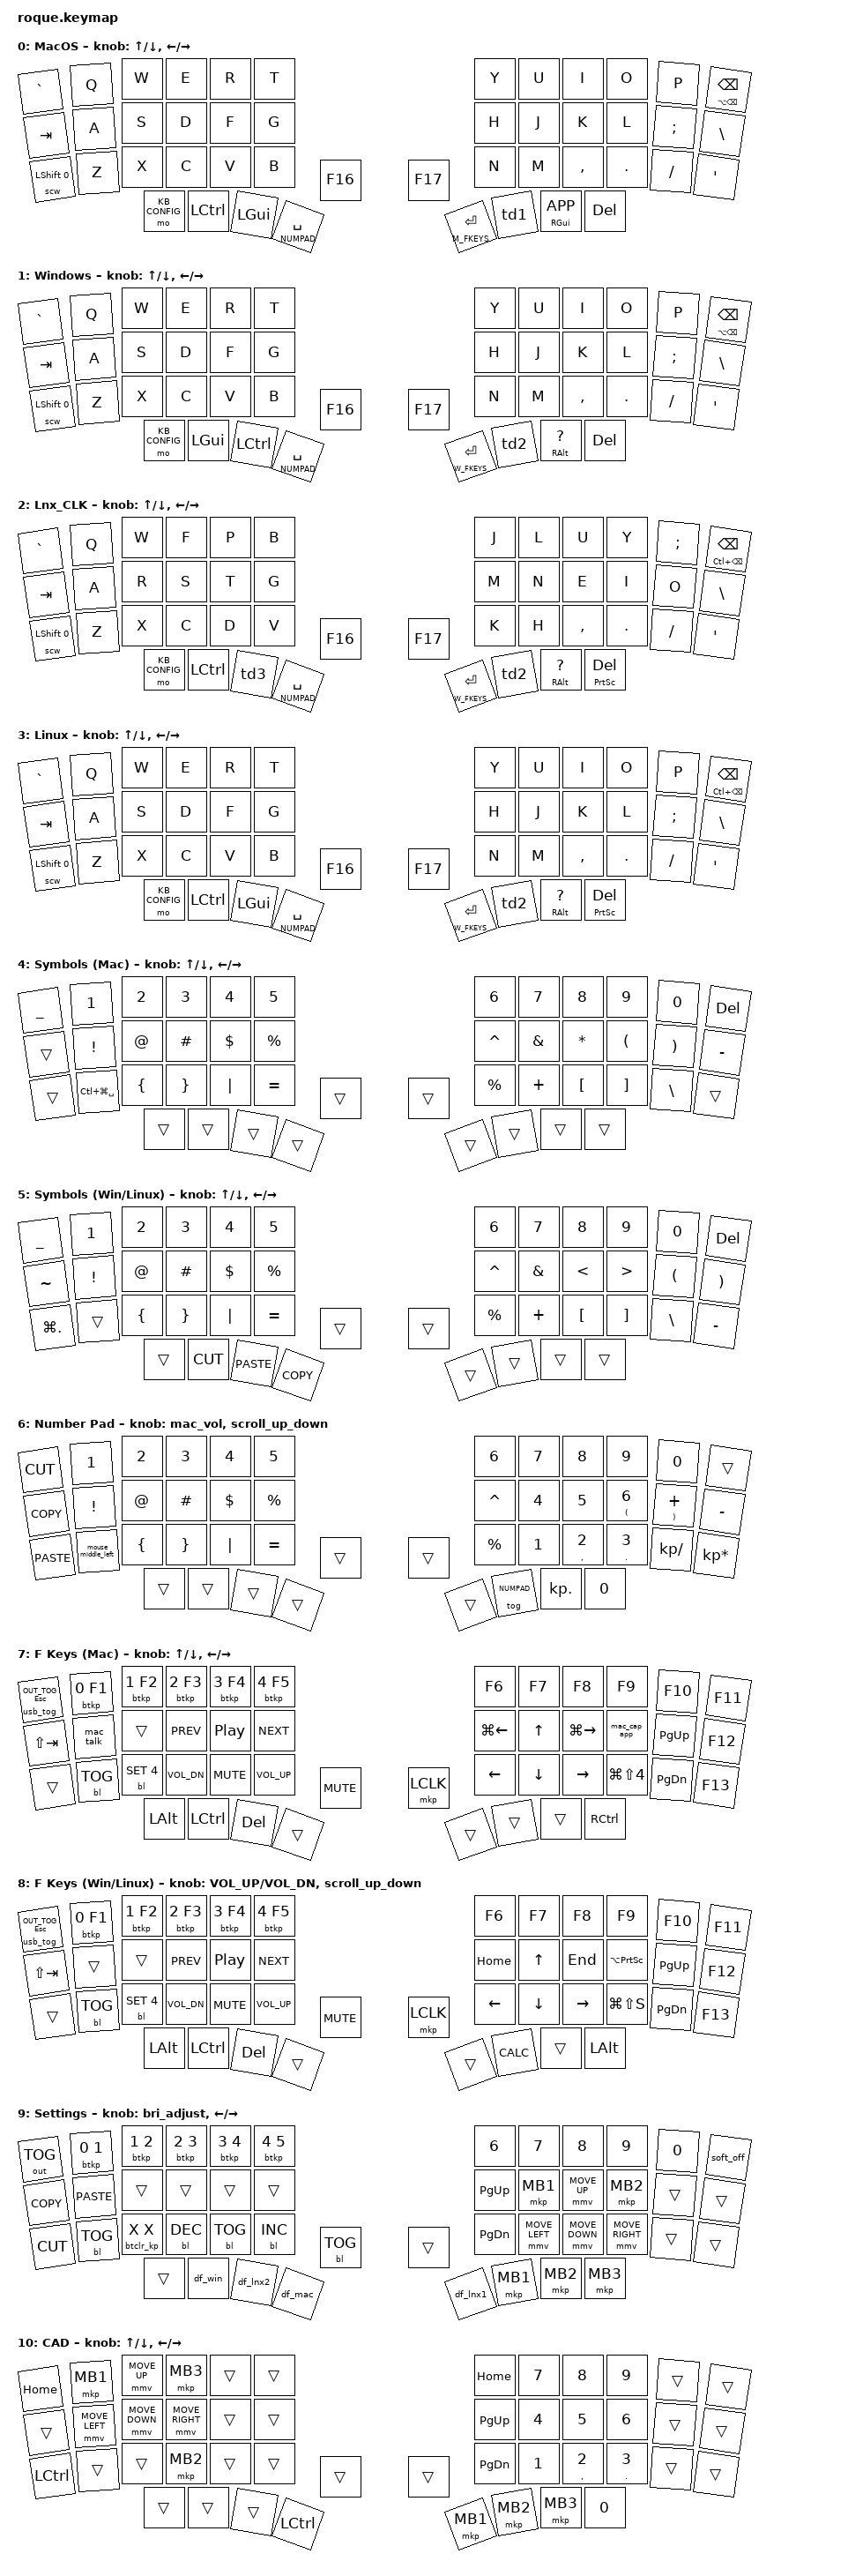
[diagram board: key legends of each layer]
/*
 * Copyright (c) 2023 The ZMK Contributors
 *
 * SPDX-License-Identifier: MIT
 */

#include <behaviors.dtsi>
#include <dt-bindings/zmk/keys.h>
#include <dt-bindings/zmk/bt.h>
#include <dt-bindings/zmk/outputs.h>
#include <dt-bindings/zmk/backlight.h>
#include "elpekenin/behaviors.dtsi"
#define ZMK_POINTING_DEFAULT_MOVE_VAL 900
#define ZMK_POINTING_DEFAULT_SCRL_VAL 100
#include <dt-bindings/zmk/pointing.h>

// Helpful macros borrowed from AndrewMSHowe
#define ___ &trans

// Layer numbers for use by the keymap & macros
#define MACOS     0
#define WINDOWS   1
#define LNX_CLK   2
#define LINUX     3
#define M_SYMBOLS 4
#define W_SYMBOLS 5
#define NUMPAD    6
#define M_FKEYS   7
#define W_FKEYS   8
#define KB_CONFIG 9
#define CAD       10
#define MUP &mmv MOVE_UP
#define MDN &mmv MOVE_DOWN
#define MLT &mmv MOVE_LEFT
#define MRT &mmv MOVE_RIGHT

#include "keymap_behaviors.dtsi"
#include "keymap_macros.dtsi"

/ {
    keymap {
        compatible = "zmk,keymap";

        default_layer {
            display-name = "MacOS";
            sensor-bindings = <&inc_dec_kp UP DOWN &inc_dec_kp LEFT RIGHT>;
            bindings = <
// ╭─────────────────┬─────────────┬────────────┬────────────────────┬─────────────────┬────────────╮                                         ╭───────────────┬─────────────────────┬─────────────────┬───────────────┬─────────────────┬───────────────────────╮
       &kp  GRAVE       &kp Q          &kp W        &kp E                 &kp R           &kp T   /*|                                         |*/   &kp Y          &kp U                &kp I               &kp O           &kp P             &mt LA(BSPC) BSPC
       &kp  TAB         &kp A          &kp S        &kp D                 &kp F           &kp G   /*├──────────────────╮╭─────────────────────┤*/   &kp H          &kp J                &kp K               &kp L           &kp SEMI          &kp BSLH
       &scw LSHIFT 0    &kp Z          &kp X        &kp C                 &kp V           &kp B       &kp F16             &kp F17                   &kp N          &kp M                &kp COMMA           &kp DOT         &kp FSLH           &kp SQT
/* ╰─────────────────┴─────────────┴────────────┤*/ &mo KB_CONFIG         &kp LCTRL       &kp LGUI    &lt NUMPAD SPACE    &lt M_FKEYS ENTER         &td1           &mt RGUI K_APP       &kp DEL     //├───────────────┴─────────────────┴───────────────────────╯
//                                              ╰────────────────────┴─────────────────┴────────────┴──────────────────╯╰─────────────────────┴───────────────┴─────────────────────┴─────────────────╯
            >;
        };

        windows_default_layer {
            display-name = "Windows";
            sensor-bindings = <&inc_dec_kp UP DOWN &inc_dec_kp LEFT RIGHT>;
            bindings = <
// ╭─────────────────┬─────────────┬────────────┬────────────────────┬─────────────────┬────────────╮                                         ╭───────────────┬─────────────────────┬─────────────────┬───────────────┬───────────────┬─────────────────────────╮
       &kp  GRAVE       &kp Q          &kp W        &kp E                 &kp R           &kp T   /*|                                         |*/   &kp Y          &kp U                &kp I               &kp O           &kp P             &mt LA(BSPC) BSPC
       &kp  TAB         &kp A          &kp S        &kp D                 &kp F           &kp G   /*├─────────────────╮╭──────────────────────┤*/   &kp H          &kp J                &kp K               &kp L           &kp SEMI          &kp BSLH
       &scw LSHIFT 0    &kp Z          &kp X        &kp C                 &kp V           &kp B       &kp F16             &kp F17                   &kp N          &kp M                &kp COMMA           &kp DOT         &kp FSLH          &kp APOS
/* ╰─────────────────┴─────────────┴────────────┤*/ &mo KB_CONFIG         &kp LGUI        &kp LCTRL   &lt NUMPAD SPACE    &lt W_FKEYS ENTER         &td2           &mt RALT QMARK       &kp DEL     //├───────────────┴───────────────┴─────────────────────────╯
//                                              ╰─────────────────────┴─────────────────┴───────────┴─────────────────╯╰─────────────────────┴────────────────┴─────────────────────┴─────────────────╯
            >;
        };

        linux_clk_default_layer {
            display-name = "Lnx_CLK";
            sensor-bindings = <&inc_dec_kp UP DOWN &inc_dec_kp LEFT RIGHT>;
            bindings = <
// ╭─────────────────┬─────────────┬────────────┬────────────────────┬─────────────────┬────────────╮                                         ╭───────────────┬─────────────────────┬───────────────────────────┬───────────────┬───────────────┬───────────────────────────╮
       &kp  GRAVE       &kp Q          &kp W        &kp F                 &kp P           &kp B   /*|                                         |*/   &kp J          &kp L                &kp U                           &kp Y           &kp SEMI      &mt LC(BSPC) BSPC
       &kp  TAB         &kp A          &kp R        &kp S                 &kp T           &kp G   /*├──────────────────╮╭─────────────────────┤*/   &kp M          &kp N                &kp E                           &kp I           &kp O         &kp BSLH
       &scw LSHIFT 0    &kp Z          &kp X        &kp C                 &kp D           &kp V       &kp F16             &kp F17                   &kp K          &kp H                &kp COMMA                       &kp DOT         &kp FSLH      &kp APOS
/* ╰─────────────────┴─────────────┴────────────┤*/ &mo KB_CONFIG         &kp LCTRL       &td3        &lt NUMPAD SPACE    &lt W_FKEYS ENTER         &td2           &mt RALT QMARK       &mt PSCRN DEL         //├───────────────┴───────────────┴───────────────────────────╯
//                                              ╰────────────────────┴─────────────────┴────────────┴──────────────────╯╰─────────────────────┴───────────────┴─────────────────────┴───────────────────────────╯
            >;
        };

        linux_default_layer {
            display-name = "Linux";
            sensor-bindings = <&inc_dec_kp UP DOWN &inc_dec_kp LEFT RIGHT>;
            bindings = <
// ╭─────────────────┬─────────────┬────────────┬────────────────────┬─────────────────┬────────────╮                                         ╭───────────────┬─────────────────────┬────────────────────────────┬───────────────┬───────────────┬─────────────────────────╮
       &kp  GRAVE       &kp Q          &kp W        &kp E                 &kp R           &kp T   /*|                                         |*/   &kp Y          &kp U                &kp I                       &kp O           &kp P             &mt LC(BSPC) BSPC
       &kp  TAB         &kp A          &kp S        &kp D                 &kp F           &kp G   /*├──────────────────╮╭─────────────────────┤*/   &kp H          &kp J                &kp K                       &kp L           &kp SEMI          &kp BSLH
       &scw LSHIFT 0    &kp Z          &kp X        &kp C                 &kp V           &kp B       &kp F16             &kp F17                   &kp N          &kp M                &kp COMMA                   &kp DOT         &kp FSLH          &kp APOS
/* ╰─────────────────┴─────────────┴────────────┤*/ &mo KB_CONFIG         &kp LCTRL       &kp LGUI    &lt NUMPAD SPACE    &lt W_FKEYS ENTER         &td2           &mt RALT QMARK       &mt PSCRN DEL          //├───────────────┴───────────────┴─────────────────────────╯
//                                              ╰────────────────────┴─────────────────┴────────────┴──────────────────╯╰─────────────────────┴───────────────┴─────────────────────┴────────────────────────────╯
            >;
        };

        macos_symbols_layer {
            display-name = "Symbols (Mac)";
            sensor-bindings = <&inc_dec_kp UP DOWN &inc_dec_kp LEFT RIGHT>;
            bindings = <
//  ╭──────────────────────────┬───────────────────┬───────────────┬─────────────────┬─────────────────┬──────────────────╮                                          ╭─────────────────┬─────────────────┬─────────────────┬─────────────────┬─────────────────┬───────────────╮
            &kp UNDER                &kp N1            &kp N2            &kp N3            &kp N4           &kp N5     /*|                                          |*/    &kp N6          &kp N7            &kp N8            &kp N9            &kp N0            &kp DEL
                ___                  &kp EXCL          &kp AT           &kp HASH           &kp DLLR         &kp PRCNT  /*├─────────────────╮      ╭─────────────────┤*/    &kp CARET       &kp AMPERSAND     &kp STAR          &kp LPAR          &kp RPAR          &kp MINUS
                ___             &kp LC(LG(SPACE))   &kp LEFT_BRACE   &kp RIGHT_BRACE       &kp PIPE         &kp EQUAL            ___                      ___              &kp PRCNT       &kp PLUS          &kp LBKT          &kp RBKT       &kp BACKSLASH           ___
/* ╰──────────────────────────┴───────────────────┴───────────────┤*/     ___               ___               ___                ___                      ___               ___               ___               ___      //├─────────────────┴─────────────────┴───────────────╯
//                                                                ╰─────────────────┴─────────────────┴──────────────────┴─────────────────╯      ╰─────────────────┴─────────────────┴─────────────────┴──────────────────╯
            >;
        };

        windows_symbols_layer {
            display-name = "Symbols (Win/Linux)";
            sensor-bindings = <&inc_dec_kp UP DOWN &inc_dec_kp LEFT RIGHT>;
            bindings = <
// ╭───────────────┬──────────────────────┬──────────────────────┬────────────────────┬───────────────┬──────────────╮                                 ╭───────────────┬───────────────┬───────────────┬───────────────┬──────────────────┬──────────────────╮
       &kp UNDER       &kp N1                   &kp N2               &kp N3              &kp N4          &kp N5    /*|                                 |*/  &kp N6         &kp N7          &kp N8          &kp N9          &kp N0               &kp DEL
       &kp TILDE       &kp EXCL                 &kp AT               &kp HASH            &kp DLLR        &kp PRCNT /*├─────────────╮     ╭─────────────┤*/  &kp CARET      &kp AMPERSAND   &kp LT          &kp GT          &kp LPAR             &kp RPAR
       &kp LG(DOT)     ___                      &kp LEFT_BRACE       &kp RIGHT_BRACE     &kp PIPE        &kp EQUAL       ___                 ___            &kp PRCNT      &kp PLUS        &kp LBKT        &kp RBKT        &kp BACKSLASH        &kp MINUS
/* ╰───────────────┴──────────────────────┴──────────────────────┤*/ ___                 &kp K_CUT       &kp K_PASTE     &kp K_COPY          ___            ___            ___             ___       //├───────────────┴──────────────────┴──────────────────╯
//                                                               ╰────────────────────┴───────────────┴──────────────┴─────────────╯     ╰─────────────┴───────────────┴───────────────┴───────────────╯
            >;
        };

        numpad_layer {
            display-name = "Number Pad";
            sensor-bindings = <&mac_vol &scroll_up_down>;
            bindings = <
// ╭───────────────┬──────────────────────────┬───────────────────┬───────────────────┬───────────────┬──────────────╮                               ╭───────────────┬───────────────┬─────────────────┬─────────────┬─────────────────┬──────────────────╮
       &kp K_CUT       &kp N1                   &kp N2               &kp N3              &kp N4          &kp N5    /*|                               |*/  &kp N6         &kp N7          &kp N8          &kp N9          &kp N0          ___ 
       &kp K_COPY      &kp EXCL                 &kp AT               &kp HASH            &kp DLLR        &kp PRCNT /*├─────────────╮     ╭───────────┤*/  &kp CARET      &kp N4          &kp N5          &mt LPAR N6     &mt RPAR PLUS   &kp MINUS
       &kp K_PASTE     &mouse_middle_left       &kp LEFT_BRACE       &kp RIGHT_BRACE     &kp PIPE        &kp EQUAL      ___                 ___           &kp PRCNT      &kp N1          &mt COMMA N2    &mt DOT N3      &kp KP_DIVIDE   &kp KP_MULTIPLY
/* ╰───────────────┴──────────────────────────┴───────────────────┤*/      ___          ___             ___             ___                 ___           &tog NUMPAD    &kp KP_DOT      &kp N0      //├─────────────┴─────────────────┴──────────────────╯
//                                                                ╰───────────────────┴───────────────┴──────────────┴─────────────╯     ╰───────────┴───────────────┴───────────────┴─────────────────╯
            >;
      };


        macos_f_keys_layer {
            display-name = "F Keys (Mac)";
            sensor-bindings = <&inc_dec_kp UP DOWN &inc_dec_kp LEFT RIGHT>;
            bindings = <
// ╭──────────────────────────────┬───────────────────┬───────────────┬───────────────┬───────────────┬────────────────╮                                 ╭────────────────────┬───────────────┬───────────────────┬────────────────────┬───────────────┬───────────────╮
        &usb_tog OUT_TOG ESCAPE         &btkp 0 F1        &btkp 1 F2      &btkp 2 F3      &btkp 3 F4      &btkp 4 F5 /*|                                 |*/   &kp F6             &kp F7          &kp F8              &kp F9              &kp F10         &kp F11
        &kp LS(TAB)                     &mac_talk         ___             &kp C_PREV      &kp C_PP        &kp C_NEXT /*├─────────────╮     ╭─────────────┤*/   &kp LG(LEFT)       &kp UP          &kp LG(RIGHT)       &mac_cap_app        &kp PG_UP       &kp F12
        ___                             &bl BL_TOG        &bl BL_SET 4    &kp C_VOL_DN    &kp C_MUTE      &kp C_VOL_UP     &kp C_MUTE         &mkp LCLK        &kp LEFT           &kp DOWN        &kp RIGHT           &kp LG(LS(N4))      &kp PG_DN       &kp F13
/* ╰──────────────────────────────┴───────────────────┴───────────────┤*/ &kp LALT        &kp LCTRL       &kp DEL          ___                ___              ___                ___             &kp RCTRL     //├────────────────────┴───────────────┴───────────────╯
//                                                                    ╰───────────────┴───────────────┴───────────────┴──────────────╯     ╰─────────────┴────────────────────┴───────────────┴───────────────────╯
            >;
        };

        windows_f_keys_layer {
            display-name = "F Keys (Win/Linux)";
            sensor-bindings = <&inc_dec_kp C_VOL_UP C_VOL_DN &scroll_up_down>;
            bindings = <
// ╭────────────────────────────────┬───────────────┬───────────────┬───────────────┬───────────────┬────────────────╮                                 ╭───────────────┬───────────────┬───────────────┬───────────────┬───────────────┬───────────────╮
        &usb_tog OUT_TOG ESCAPE         &btkp 0 F1      &btkp 1 F2      &btkp 2 F3      &btkp 3 F4      &btkp 4 F5 /*|                                 |*/   &kp F6         &kp F7          &kp F8          &kp F9          &kp F10         &kp F11
        &kp LS(TAB)                     ___             ___             &kp C_PREV      &kp C_PP        &kp C_NEXT /*├─────────────╮     ╭─────────────┤*/   &kp HOME       &kp UP          &kp END         &kp LA(PSCRN)   &kp PG_UP       &kp F12
        ___                             &bl BL_TOG      &bl BL_SET 4    &kp C_VOL_DN    &kp C_MUTE      &kp C_VOL_UP    &kp C_MUTE          &mkp LCLK        &kp LEFT       &kp DOWN        &kp RIGHT       &kp LG(LS(S))   &kp PG_DN       &kp F13
/* ╰────────────────────────────────┴───────────────────────────────┤*/ &kp LALT        &kp LCTRL       &kp DEL         ___                 ___              &kp K_CALC     ___             &kp LALT //├───────────────┴───────────────┴───────────────╯
//                                                                  ╰───────────────┴───────────────┴────────────────┴─────────────╯     ╰─────────────┴───────────────┴───────────────┴───────────────╯
            >;

        };


      settings_layer {
            display-name = "Settings";
            sensor-bindings = <&bri_adjust &inc_dec_kp LEFT RIGHT>;
            bindings = <
// ╭───────────────┬───────────────┬───────────────┬───────────────┬───────────────┬────────────────╮                                 ╭───────────────┬───────────────┬───────────────┬───────────────┬───────────────┬──────────────────────────╮
      &out OUT_TOG     &btkp 0 N1      &btkp 1 N2      &btkp 2 N3      &btkp 3 N4      &btkp 4 N5 /*|                                 |*/   &kp N6         &kp N7          &kp N8          &kp N9          &kp N0          &soft_off
      &kp K_COPY       &kp K_PASTE     ___             ___             ___             ___        /*├──────────────╮     ╭────────────┤*/   &kp PG_UP      &mkp MB1        MUP             &mkp MB2          ___           ___
      &kp K_CUT        &bl BL_TOG      &btclr_kp X X   &bl BL_DEC      &bl BL_TOG      &bl BL_INC      &bl BL_TOG           ___             &kp PG_DN      MLT             MDN             MRT               ___           ___
/* ╰───────────────┴───────────────┴───────────────┤*/ ___             &df_win         &df_lnx2        &df_mac              &df_lnx1        &mkp MB1       &mkp MB2        &mkp MB3 //├───────────────┴───────────────┴──────────────────────────╯
//                                                 ╰───────────────┴───────────────┴────────────────┴──────────────╯     ╰─────────────┴───────────────┴───────────────┴──────────────╯
            >;
        };


        cad_layer {
            display-name = "CAD";
            sensor-bindings = <&inc_dec_kp UP DOWN &inc_dec_kp LEFT RIGHT>;
            bindings = <
// ╭───────────────┬───────────────┬───────────────┬───────────────┬───────────────┬────────────────╮                                 ╭───────────────┬───────────────┬───────────────┬───────────────┬───────────────┬──────────────────────────╮
      &kp HOME        &mkp MB1        MUP              &mkp MB3         ___          ___          /*|                                 |*/   &kp HOME       &kp N7          &kp N8          &kp N9            ___           ___
      ___             MLT             MDN              MRT              ___          ___          /*├──────────────╮     ╭────────────┤*/   &kp PG_UP      &kp N4          &kp N5          &kp N6            ___           ___
      &kp LCTRL       ___             ___              &mkp MB2         ___          ___                ___                 ___             &kp PG_DN      &kp N1          &mt COMMA N2    &mt DOT N3        ___           ___
/* ╰───────────────┴───────────────┴───────────────┤*/ ___              ___          ___                &kp LCTRL           &mkp MB1        &mkp MB2       &mkp MB3        &kp N0   //├───────────────┴───────────────┴──────────────────────────╯
//                                                 ╰───────────────┴───────────────┴────────────────┴──────────────╯     ╰─────────────┴───────────────┴───────────────┴──────────────╯
            >;

        };

        // Extra layers for ZMK Studio

        extra1 {
            status = "reserved";
        };
        extra2 {
            status = "reserved";
        };
    };

};
